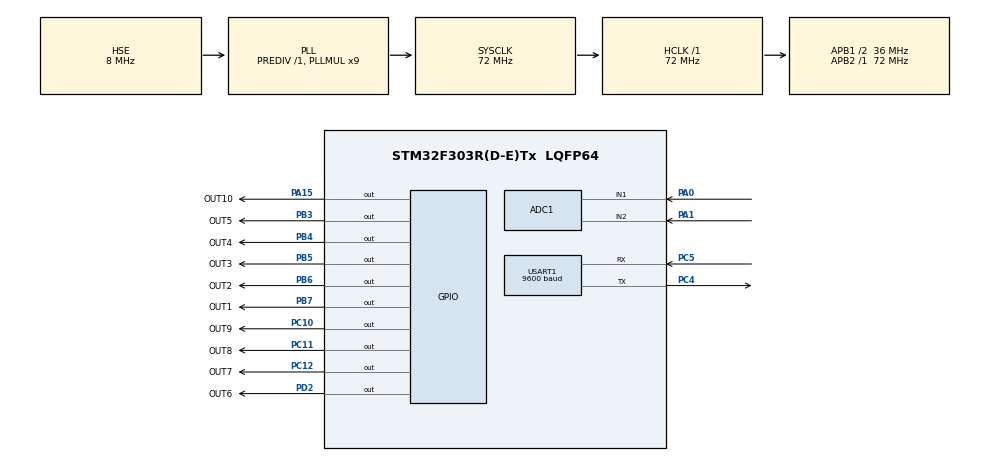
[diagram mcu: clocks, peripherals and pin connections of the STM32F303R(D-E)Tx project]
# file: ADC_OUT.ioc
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ADC1.Channel-0\#ChannelRegularConversion=ADC_CHANNEL_1
ADC1.Channel-2\#ChannelRegularConversion=ADC_CHANNEL_2
ADC1.ContinuousConvMode=ENABLE
ADC1.NbrOfConversion=2
ADC1.NbrOfConversionFlag=1
ADC1.Offset-0\#ChannelRegularConversion=0
ADC1.Offset-2\#ChannelRegularConversion=0
ADC1.OffsetNumber-0\#ChannelRegularConversion=ADC_OFFSET_NONE
ADC1.OffsetNumber-2\#ChannelRegularConversion=ADC_OFFSET_NONE
ADC1.Rank-0\#ChannelRegularConversion=1
ADC1.Rank-2\#ChannelRegularConversion=2
ADC1.SamplingTime-0\#ChannelRegularConversion=ADC_SAMPLETIME_19CYCLES_5
ADC1.SamplingTime-2\#ChannelRegularConversion=ADC_SAMPLETIME_19CYCLES_5
ADC1.SamplingTimeOPAMP-2\#ChannelRegularConversion=ADC_SAMPLETIME_61CYCLES_5
ADC1.master=1
Mcu.Family=STM32F3
Mcu.Name=STM32F303R(D-E)Tx
Mcu.Package=LQFP64
NVIC.PriorityGroup=NVIC_PRIORITYGROUP_4
PA0.Mode=IN1-Single-Ended
PA0.Signal=ADC1_IN1
PA1.Mode=IN2-Single-Ended
PA1.Signal=ADC1_IN2
PA13.Mode=Serial_Wire
PA13.Signal=SYS_JTMS-SWDIO
PA14.Mode=Serial_Wire
PA14.Signal=SYS_JTCK-SWCLK
PA15.GPIO_Label=OUT10
PA15.GPIO_Speed=GPIO_SPEED_FREQ_MEDIUM
PA15.Signal=GPIO_Output
PB3.GPIO_Label=OUT5
PB3.GPIO_Speed=GPIO_SPEED_FREQ_MEDIUM
PB3.Signal=GPIO_Output
PB4.GPIO_Label=OUT4
PB4.GPIO_Speed=GPIO_SPEED_FREQ_MEDIUM
PB4.Signal=GPIO_Output
PB5.GPIO_Label=OUT3
PB5.GPIO_Speed=GPIO_SPEED_FREQ_MEDIUM
PB5.Signal=GPIO_Output
PB6.GPIO_Label=OUT2
PB6.GPIO_Speed=GPIO_SPEED_FREQ_MEDIUM
PB6.Signal=GPIO_Output
PB7.GPIO_Label=OUT1
PB7.GPIO_Speed=GPIO_SPEED_FREQ_MEDIUM
PB7.PinState=GPIO_PIN_RESET
PB7.Signal=GPIO_Output
PC10.GPIO_Label=OUT9
PC10.GPIO_Speed=GPIO_SPEED_FREQ_MEDIUM
PC10.Signal=GPIO_Output
PC11.GPIO_Label=OUT8
PC11.GPIO_Speed=GPIO_SPEED_FREQ_MEDIUM
PC11.Signal=GPIO_Output
PC12.GPIO_Label=OUT7
PC12.GPIO_Speed=GPIO_SPEED_FREQ_MEDIUM
PC12.Signal=GPIO_Output
PC4.Mode=Asynchronous
PC4.Signal=USART1_TX
PC5.Mode=Asynchronous
PC5.Signal=USART1_RX
PD2.GPIO_Label=OUT6
PD2.GPIO_Speed=GPIO_SPEED_FREQ_MEDIUM
PD2.Signal=GPIO_Output
PF0-OSC_IN.Mode=HSE-External-Oscillator
PF0-OSC_IN.Signal=RCC_OSC_IN
PF1-OSC_OUT.Mode=HSE-External-Oscillator
PF1-OSC_OUT.Signal=RCC_OSC_OUT
ProjectManager.HeapSize=0x200
ProjectManager.StackSize=0x400
ProjectManager.TargetToolchain=MDK-ARM V5.32
RCC.AHBFreq_Value=72000000
RCC.APB1CLKDivider=RCC_HCLK_DIV2
RCC.APB1Freq_Value=36000000
RCC.APB1TimFreq_Value=72000000
RCC.APB2Freq_Value=72000000
RCC.APB2TimFreq_Value=72000000
RCC.CortexFreq_Value=72000000
RCC.HCLKFreq_Value=72000000
RCC.HSE_VALUE=8000000
RCC.HSI_VALUE=8000000
RCC.LSE_VALUE=32768
RCC.PLLMUL=RCC_PLL_MUL9
RCC.PLLSourceVirtual=RCC_PLLSOURCE_HSE
RCC.SYSCLKFreq_VALUE=72000000
RCC.SYSCLKSourceVirtual=RCC_SYSCLKSOURCE_PLLCLK
RCC.USBFreq_Value=72000000
USART1.BaudRate=9600
USART1.VirtualMode-Asynchronous=VM_ASYNC
board=custom

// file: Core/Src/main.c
/* USER CODE BEGIN Header */
/**
  ******************************************************************************
  * @file           : main.c
  * @brief          : Main program body
  ******************************************************************************
  * @attention
  *
  * <h2><center>&copy; Copyright (c) 2021 STMicroelectronics.
  * All rights reserved.</center></h2>
  *
  * This software component is licensed by ST under BSD 3-Clause license,
  * the "License"; You may not use this file except in compliance with the
  * License. You may obtain a copy of the License at:
  *                        opensource.org/licenses/BSD-3-Clause
  *
  ******************************************************************************
  */
/* USER CODE END Header */
#include "main.h"

ADC_HandleTypeDef hadc1;

UART_HandleTypeDef huart1;

/* USER CODE BEGIN PV */
uint16_t adc_val[2]={0};
/* USER CODE END PV */

void SystemClock_Config(void);
static void MX_GPIO_Init(void);
static void MX_ADC1_Init(void);
static void MX_USART1_UART_Init(void);

/* USER CODE BEGIN 0 */
void ADC_Select_CH1 (void)
{
	ADC_ChannelConfTypeDef sConfig = {0};
	  /** Configure for the selected ADC regular channel its corresponding rank in the sequencer and its sample time.
	  */
	  sConfig.Channel = ADC_CHANNEL_1;
	  sConfig.Rank = 1;
	  sConfig.SamplingTime = ADC_SAMPLETIME_19CYCLES_5;
	  if (HAL_ADC_ConfigChannel(&hadc1, &sConfig) != HAL_OK)
	  {
	    Error_Handler();
	  }
}

void ADC_Select_CH2 (void)
{
	ADC_ChannelConfTypeDef sConfig = {0};
	  /** Configure for the selected ADC regular channel its corresponding rank in the sequencer and its sample time.
	  */
	  sConfig.Channel = ADC_CHANNEL_2;
	  sConfig.Rank = 1;
	  sConfig.SamplingTime = ADC_SAMPLETIME_19CYCLES_5;
	  if (HAL_ADC_ConfigChannel(&hadc1, &sConfig) != HAL_OK)
	  {
	    Error_Handler();
	  }
}
void turn_off_port(){
	HAL_GPIO_WritePin(OUT1_GPIO_Port,OUT1_Pin,GPIO_PIN_RESET);
	HAL_GPIO_WritePin(OUT2_GPIO_Port,OUT2_Pin,GPIO_PIN_RESET);
	HAL_GPIO_WritePin(OUT3_GPIO_Port,OUT3_Pin,GPIO_PIN_RESET);
	HAL_GPIO_WritePin(OUT4_GPIO_Port,OUT4_Pin,GPIO_PIN_RESET);
	HAL_GPIO_WritePin(OUT5_GPIO_Port,OUT5_Pin,GPIO_PIN_RESET);
	HAL_GPIO_WritePin(OUT6_GPIO_Port,OUT6_Pin,GPIO_PIN_RESET);
	HAL_GPIO_WritePin(OUT7_GPIO_Port,OUT7_Pin,GPIO_PIN_RESET);
	HAL_GPIO_WritePin(OUT8_GPIO_Port,OUT8_Pin,GPIO_PIN_RESET);
	HAL_GPIO_WritePin(OUT9_GPIO_Port,OUT9_Pin,GPIO_PIN_RESET);
	HAL_GPIO_WritePin(OUT10_GPIO_Port,OUT10_Pin,GPIO_PIN_RESET);
}
void turn_on_pin(uint16_t pin_num, GPIO_TypeDef *GPIO_port){
	turn_off_port();
	HAL_GPIO_WritePin(GPIO_port,pin_num, GPIO_PIN_SET);
}
void adc_read_value(uint16_t *adc_value)
{
	ADC_Select_CH1();
	HAL_ADC_Start(&hadc1);
	HAL_ADC_PollForConversion(&hadc1, 1000);
	adc_value[0] = HAL_ADC_GetValue(&hadc1);
	HAL_ADC_Stop(&hadc1);
	//Uncomment if want to use Channel 2
//	ADC_Select_CH2();
//	HAL_ADC_Start(&hadc1);
//	HAL_ADC_PollForConversion(&hadc1, 1000);
//	adc_value[1] = HAL_ADC_GetValue(&hadc1);
//	HAL_ADC_Stop(&hadc1);

}
void process_data(uint16_t adc_value){
	if ((adc_value>=0) && (adc_value<=322)) {
		HAL_UART_Transmit(&huart1,(uint8_t*)"Turn on Port 1\n",sizeof("Turn on Port 1\n"),100);
		turn_on_pin(OUT1_Pin,OUT1_GPIO_Port);
		return;
	}
	if ((adc_value>322) && (adc_value<=645)) {
		HAL_UART_Transmit(&huart1,(uint8_t*)"Turn on Port 2\n",sizeof("Turn on Port 2\n"),100);
		turn_on_pin(OUT2_Pin,OUT2_GPIO_Port);
		return;
	}
	if ((adc_value>645) && (adc_value<=968)) {
		HAL_UART_Transmit(&huart1,(uint8_t*)"Turn on Port 3\n",sizeof("Turn on Port 3\n"),100);
		turn_on_pin(OUT3_Pin,OUT3_GPIO_Port);
		return;
	}
	if ((adc_value>968) && (adc_value<=1291)) {
		HAL_UART_Transmit(&huart1,(uint8_t*)"Turn on Port 4\n",sizeof("Turn on Port 4\n"),100);
		turn_on_pin(OUT4_Pin,OUT4_GPIO_Port);
		return;
	}
	if ((adc_value>1291) && (adc_value<=1613)) {
		HAL_UART_Transmit(&huart1,(uint8_t*)"Turn on Port 5\n",sizeof("Turn on Port 5\n"),100);
		turn_on_pin(OUT5_Pin,OUT5_GPIO_Port);
		return;
	}
	if ((adc_value>1613) && (adc_value<=1936)) {
		HAL_UART_Transmit(&huart1,(uint8_t*)"Turn on Port 6\n",sizeof("Turn on Port 6\n"),100);
		turn_on_pin(OUT6_Pin,OUT6_GPIO_Port);
		return;
	}
	if ((adc_value>1936) && (adc_value<=2259)) {
		HAL_UART_Transmit(&huart1,(uint8_t*)"Turn on Port 7\n",sizeof("Turn on Port 7\n"),100);
		turn_on_pin(OUT7_Pin,OUT7_GPIO_Port);
		return;
	}
	if ((adc_value>2259) && (adc_value<=2582)) {
		HAL_UART_Transmit(&huart1,(uint8_t*)"Turn on Port 8\n",sizeof("Turn on Port 8\n"),100);
		turn_on_pin(OUT8_Pin,OUT8_GPIO_Port);
		return;
	}
	if ((adc_value>2582) && (adc_value<=2904)) {
		HAL_UART_Transmit(&huart1,(uint8_t*)"Turn on Port 9\n",sizeof("Turn on Port 9\n"),100);
		turn_on_pin(OUT9_Pin,OUT9_GPIO_Port);
		return;
	}
	if ((adc_value>2904) && (adc_value<=3327)) {
		HAL_UART_Transmit(&huart1,(uint8_t*)"Turn on Port 10\n",sizeof("Turn on Port 10\n"),100);
		turn_on_pin(OUT10_Pin,OUT10_GPIO_Port);
		return;
	}
	turn_off_port();
	return;

}
/* USER CODE END 0 */

int main(void)
{

  /* MCU Configuration--------------------------------------------------------*/

  /* Reset of all peripherals, Initializes the Flash interface and the Systick. */
  HAL_Init();

  /* Configure the system clock */
  SystemClock_Config();

  /* Initialize all configured peripherals */
  MX_GPIO_Init();
  MX_ADC1_Init();
  MX_USART1_UART_Init();

  /* Infinite loop */
  while (1)
  {
		adc_read_value(adc_val);
		process_data(adc_val[0]);
		HAL_Delay(100);
  }
}

void SystemClock_Config(void)
{
  RCC_OscInitTypeDef RCC_OscInitStruct = {0};
  RCC_ClkInitTypeDef RCC_ClkInitStruct = {0};
  RCC_PeriphCLKInitTypeDef PeriphClkInit = {0};

  /** Initializes the RCC Oscillators according to the specified parameters
  * in the RCC_OscInitTypeDef structure.
  */
  RCC_OscInitStruct.OscillatorType = RCC_OSCILLATORTYPE_HSE;
  RCC_OscInitStruct.HSEState = RCC_HSE_ON;
  RCC_OscInitStruct.HSIState = RCC_HSI_ON;
  RCC_OscInitStruct.PLL.PLLState = RCC_PLL_ON;
  RCC_OscInitStruct.PLL.PLLSource = RCC_PLLSOURCE_HSE;
  RCC_OscInitStruct.PLL.PLLMUL = RCC_PLL_MUL9;
  RCC_OscInitStruct.PLL.PREDIV = RCC_PREDIV_DIV1;
  if (HAL_RCC_OscConfig(&RCC_OscInitStruct) != HAL_OK)
  {
    Error_Handler();
  }
  /** Initializes the CPU, AHB and APB buses clocks
  */
  RCC_ClkInitStruct.ClockType = RCC_CLOCKTYPE_HCLK|RCC_CLOCKTYPE_SYSCLK
                              |RCC_CLOCKTYPE_PCLK1|RCC_CLOCKTYPE_PCLK2;
  RCC_ClkInitStruct.SYSCLKSource = RCC_SYSCLKSOURCE_PLLCLK;
  RCC_ClkInitStruct.AHBCLKDivider = RCC_SYSCLK_DIV1;
  RCC_ClkInitStruct.APB1CLKDivider = RCC_HCLK_DIV2;
  RCC_ClkInitStruct.APB2CLKDivider = RCC_HCLK_DIV1;

  if (HAL_RCC_ClockConfig(&RCC_ClkInitStruct, FLASH_LATENCY_2) != HAL_OK)
  {
    Error_Handler();
  }
  PeriphClkInit.PeriphClockSelection = RCC_PERIPHCLK_USART1|RCC_PERIPHCLK_ADC12;
  PeriphClkInit.Usart1ClockSelection = RCC_USART1CLKSOURCE_PCLK2;
  PeriphClkInit.Adc12ClockSelection = RCC_ADC12PLLCLK_DIV1;
  if (HAL_RCCEx_PeriphCLKConfig(&PeriphClkInit) != HAL_OK)
  {
    Error_Handler();
  }
}

static void MX_ADC1_Init(void)
{

  ADC_MultiModeTypeDef multimode = {0};
  ADC_ChannelConfTypeDef sConfig = {0};

  /** Common config
  */
  hadc1.Instance = ADC1;
  hadc1.Init.ClockPrescaler = ADC_CLOCK_ASYNC_DIV1;
  hadc1.Init.Resolution = ADC_RESOLUTION_12B;
  hadc1.Init.ScanConvMode = ADC_SCAN_ENABLE;
  hadc1.Init.ContinuousConvMode = ENABLE;
  hadc1.Init.DiscontinuousConvMode = DISABLE;
  hadc1.Init.ExternalTrigConvEdge = ADC_EXTERNALTRIGCONVEDGE_NONE;
  hadc1.Init.ExternalTrigConv = ADC_SOFTWARE_START;
  hadc1.Init.DataAlign = ADC_DATAALIGN_RIGHT;
  hadc1.Init.NbrOfConversion = 1;
  hadc1.Init.DMAContinuousRequests = DISABLE;
  hadc1.Init.EOCSelection = ADC_EOC_SINGLE_CONV;
  hadc1.Init.LowPowerAutoWait = DISABLE;
  hadc1.Init.Overrun = ADC_OVR_DATA_OVERWRITTEN;
  if (HAL_ADC_Init(&hadc1) != HAL_OK)
  {
    Error_Handler();
  }
  /** Configure the ADC multi-mode
  */
  multimode.Mode = ADC_MODE_INDEPENDENT;
  if (HAL_ADCEx_MultiModeConfigChannel(&hadc1, &multimode) != HAL_OK)
  {
    Error_Handler();
  }
//  /** Configure Regular Channel
//  */
//  sConfig.Channel = ADC_CHANNEL_1;
//  sConfig.Rank = ADC_REGULAR_RANK_1;
//  sConfig.SingleDiff = ADC_SINGLE_ENDED;
//  sConfig.SamplingTime = ADC_SAMPLETIME_19CYCLES_5;
//  sConfig.OffsetNumber = ADC_OFFSET_NONE;
//  sConfig.Offset = 0;
//  if (HAL_ADC_ConfigChannel(&hadc1, &sConfig) != HAL_OK)
//  {
//    Error_Handler();
//  }
//  /** Configure Regular Channel
//  */
//  sConfig.Channel = ADC_CHANNEL_2;
//  sConfig.Rank = ADC_REGULAR_RANK_2;
//  if (HAL_ADC_ConfigChannel(&hadc1, &sConfig) != HAL_OK)
//  {
//    Error_Handler();
//  }

}

static void MX_USART1_UART_Init(void)
{

  huart1.Instance = USART1;
  huart1.Init.BaudRate = 9600;
  huart1.Init.WordLength = UART_WORDLENGTH_8B;
  huart1.Init.StopBits = UART_STOPBITS_1;
  huart1.Init.Parity = UART_PARITY_NONE;
  huart1.Init.Mode = UART_MODE_TX_RX;
  huart1.Init.HwFlowCtl = UART_HWCONTROL_NONE;
  huart1.Init.OverSampling = UART_OVERSAMPLING_16;
  huart1.Init.OneBitSampling = UART_ONE_BIT_SAMPLE_DISABLE;
  huart1.AdvancedInit.AdvFeatureInit = UART_ADVFEATURE_NO_INIT;
  if (HAL_UART_Init(&huart1) != HAL_OK)
  {
    Error_Handler();
  }

}

static void MX_GPIO_Init(void)
{
  GPIO_InitTypeDef GPIO_InitStruct = {0};

  /* GPIO Ports Clock Enable */
  __HAL_RCC_GPIOF_CLK_ENABLE();
  __HAL_RCC_GPIOA_CLK_ENABLE();
  __HAL_RCC_GPIOC_CLK_ENABLE();
  __HAL_RCC_GPIOD_CLK_ENABLE();
  __HAL_RCC_GPIOB_CLK_ENABLE();

  /*Configure GPIO pin Output Level */
  HAL_GPIO_WritePin(OUT10_GPIO_Port, OUT10_Pin, GPIO_PIN_RESET);

  /*Configure GPIO pin Output Level */
  HAL_GPIO_WritePin(GPIOC, OUT9_Pin|OUT8_Pin|OUT7_Pin, GPIO_PIN_RESET);

  /*Configure GPIO pin Output Level */
  HAL_GPIO_WritePin(OUT6_GPIO_Port, OUT6_Pin, GPIO_PIN_RESET);

  /*Configure GPIO pin Output Level */
  HAL_GPIO_WritePin(GPIOB, OUT5_Pin|OUT4_Pin|OUT3_Pin|OUT2_Pin
                          |OUT1_Pin, GPIO_PIN_RESET);

  /*Configure GPIO pin : OUT10_Pin */
  GPIO_InitStruct.Pin = OUT10_Pin;
  GPIO_InitStruct.Mode = GPIO_MODE_OUTPUT_PP;
  GPIO_InitStruct.Pull = GPIO_NOPULL;
  GPIO_InitStruct.Speed = GPIO_SPEED_FREQ_MEDIUM;
  HAL_GPIO_Init(OUT10_GPIO_Port, &GPIO_InitStruct);

  /*Configure GPIO pins : OUT9_Pin OUT8_Pin OUT7_Pin */
  GPIO_InitStruct.Pin = OUT9_Pin|OUT8_Pin|OUT7_Pin;
  GPIO_InitStruct.Mode = GPIO_MODE_OUTPUT_PP;
  GPIO_InitStruct.Pull = GPIO_NOPULL;
  GPIO_InitStruct.Speed = GPIO_SPEED_FREQ_MEDIUM;
  HAL_GPIO_Init(GPIOC, &GPIO_InitStruct);

  /*Configure GPIO pin : OUT6_Pin */
  GPIO_InitStruct.Pin = OUT6_Pin;
  GPIO_InitStruct.Mode = GPIO_MODE_OUTPUT_PP;
  GPIO_InitStruct.Pull = GPIO_NOPULL;
  GPIO_InitStruct.Speed = GPIO_SPEED_FREQ_MEDIUM;
  HAL_GPIO_Init(OUT6_GPIO_Port, &GPIO_InitStruct);

  /*Configure GPIO pins : OUT5_Pin OUT4_Pin OUT3_Pin OUT2_Pin
                           OUT1_Pin */
  GPIO_InitStruct.Pin = OUT5_Pin|OUT4_Pin|OUT3_Pin|OUT2_Pin
                          |OUT1_Pin;
  GPIO_InitStruct.Mode = GPIO_MODE_OUTPUT_PP;
  GPIO_InitStruct.Pull = GPIO_NOPULL;
  GPIO_InitStruct.Speed = GPIO_SPEED_FREQ_MEDIUM;
  HAL_GPIO_Init(GPIOB, &GPIO_InitStruct);

}

void Error_Handler(void)
{
  __disable_irq();
  while (1)
  {
  }
}

/************************ (C) COPYRIGHT STMicroelectronics *****END OF FILE****/
